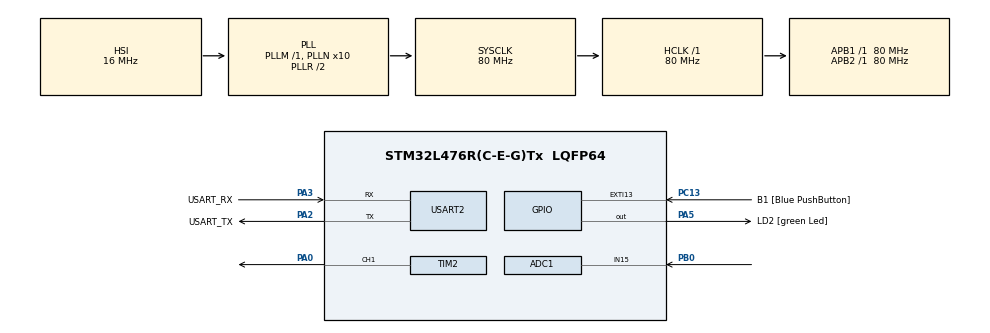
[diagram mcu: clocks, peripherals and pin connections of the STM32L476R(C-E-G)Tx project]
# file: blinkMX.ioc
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ADC1.Channel-3\#ChannelRegularConversion=ADC_CHANNEL_15
ADC1.ClockPrescaler=ADC_CLOCK_SYNC_PCLK_DIV4
ADC1.ContinuousConvMode=ENABLE
ADC1.NbrOfConversionFlag=1
ADC1.OffsetNumber-3\#ChannelRegularConversion=ADC_OFFSET_NONE
ADC1.Rank-3\#ChannelRegularConversion=1
ADC1.SamplingTime-3\#ChannelRegularConversion=ADC_SAMPLETIME_2CYCLES_5
ADC1.master=1
Mcu.Family=STM32L4
Mcu.Name=STM32L476R(C-E-G)Tx
Mcu.Package=LQFP64
NVIC.PriorityGroup=NVIC_PRIORITYGROUP_4
PA0.Signal=S_TIM2_CH1
PA13\ (JTMS-SWDIO).GPIO_Label=TMS
PA13\ (JTMS-SWDIO).Mode=Serial_Wire
PA13\ (JTMS-SWDIO).Signal=SYS_JTMS-SWDIO
PA14\ (JTCK-SWCLK).GPIO_Label=TCK
PA14\ (JTCK-SWCLK).Mode=Serial_Wire
PA14\ (JTCK-SWCLK).Signal=SYS_JTCK-SWCLK
PA2.GPIO_Label=USART_TX
PA2.GPIO_Mode=GPIO_MODE_AF_PP
PA2.GPIO_PuPd=GPIO_NOPULL
PA2.GPIO_Speed=GPIO_SPEED_FREQ_VERY_HIGH
PA2.Mode=Asynchronous
PA2.Signal=USART2_TX
PA3.GPIO_Label=USART_RX
PA3.GPIO_Mode=GPIO_MODE_AF_PP
PA3.GPIO_PuPd=GPIO_NOPULL
PA3.GPIO_Speed=GPIO_SPEED_FREQ_VERY_HIGH
PA3.Mode=Asynchronous
PA3.Signal=USART2_RX
PA5.GPIO_Label=LD2 [green Led]
PA5.GPIO_ModeDefaultOutputPP=GPIO_MODE_OUTPUT_PP
PA5.GPIO_PuPd=GPIO_NOPULL
PA5.GPIO_Speed=GPIO_SPEED_FREQ_LOW
PA5.Signal=GPIO_Output
PB0.Signal=ADCx_IN15
PB3\ (JTDO-TRACESWO).GPIO_Label=SWO
PB3\ (JTDO-TRACESWO).Signal=SYS_JTDO-SWO
PC13.GPIO_Label=B1 [Blue PushButton]
PC13.GPIO_ModeDefaultEXTI=GPIO_MODE_IT_FALLING
PC13.GPIO_PuPd=GPIO_NOPULL
PC13.Signal=GPXTI13
PC14-OSC32_IN\ (PC14).Mode=LSE-External-Oscillator
PC14-OSC32_IN\ (PC14).Signal=RCC_OSC32_IN
PC15-OSC32_OUT\ (PC15).Mode=LSE-External-Oscillator
PC15-OSC32_OUT\ (PC15).Signal=RCC_OSC32_OUT
PH0-OSC_IN\ (PH0).Signal=RCC_OSC_IN
PH1-OSC_OUT\ (PH1).Signal=RCC_OSC_OUT
ProjectManager.HeapSize=0x200
ProjectManager.StackSize=0x400
ProjectManager.TargetToolchain=STM32CubeIDE
RCC.ADCFreq_Value=64000000
RCC.AHBFreq_Value=80000000
RCC.APB1Freq_Value=80000000
RCC.APB1TimFreq_Value=80000000
RCC.APB2Freq_Value=80000000
RCC.APB2TimFreq_Value=80000000
RCC.CortexFreq_Value=80000000
RCC.HCLKFreq_Value=80000000
RCC.HSE_VALUE=8000000
RCC.HSI_VALUE=16000000
RCC.MSI_VALUE=4000000
RCC.PLLN=10
RCC.PLLSourceVirtual=RCC_PLLSOURCE_HSI
RCC.PREFETCH_ENABLE=1
RCC.SYSCLKFreq_VALUE=80000000
RCC.SYSCLKSource=RCC_SYSCLKSOURCE_PLLCLK
RCC.USBFreq_Value=64000000
RCC.VCOOutputFreq_Value=160000000
SH.ADCx_IN15.0=ADC1_IN15,IN15-Single-Ended
SH.S_TIM2_CH1.0=TIM2_CH1,PWM Generation1 CH1
TIM2.Channel-PWM\ Generation1\ CH1=TIM_CHANNEL_1
TIM2.Period=1999
TIM2.Pulse-PWM\ Generation1\ CH1=1000
USART2.VirtualMode-Asynchronous=VM_ASYNC
VP_TIM2_VS_ClockSourceINT.Mode=Internal
board=NUCLEO-L476RG

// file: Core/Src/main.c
/* USER CODE BEGIN Header */
/**
  ******************************************************************************
  * @file           : main.c
  * @brief          : Main program body
  ******************************************************************************
  * @attention
  *
  * Copyright (c) 2026 STMicroelectronics.
  * All rights reserved.
  *
  * This software is licensed under terms that can be found in the LICENSE file
  * in the root directory of this software component.
  * If no LICENSE file comes with this software, it is provided AS-IS.
  *
  ******************************************************************************
  */
/* USER CODE END Header */
#include "main.h"

/* USER CODE BEGIN Includes */
#include <string.h>
#include <stdio.h>
/* USER CODE END Includes */

/* USER CODE BEGIN Defines */
#define ADC_BUFFER_SIZE 1000    // Number of ADC samples to capture
#define BURST_PULSES    8       // Number of 40kHz pulses to send
#define BURST_PERIOD_US 25      // Period of one 40kHz cycle in microseconds
#define PRE_CAPTURE_DELAY_US 50 // Delay after burst before sampling (transducer ringdown)
#define SAMPLE_RATE_HZ   1335940u // Measured 2026-05-09 via PA1 GPIO-toggle probe
#define BLANKING_SAMPLES 67       // Skip first ~50 µs of capture (TX feedthrough + RX ringup)
#define ECHO_THRESHOLD   100      // ADC counts (~80 mV) for threshold-based "echo start"
#define ZC_HALF_COUNT    3        // ZCs taken on each side of peak; 6 total averaged
/* USER CODE END Defines */

ADC_HandleTypeDef hadc1;

TIM_HandleTypeDef htim2;

UART_HandleTypeDef huart2;

/* USER CODE BEGIN PV */
uint16_t adc_buffer[ADC_BUFFER_SIZE];  // Buffer for captured ADC samples
volatile uint32_t capture_complete = 0;
/* USER CODE END PV */

void SystemClock_Config(void);
static void MX_GPIO_Init(void);
static void MX_USART2_UART_Init(void);
static void MX_TIM2_Init(void);
static void MX_ADC1_Init(void);
/* USER CODE BEGIN PFP */
typedef struct {
    int   peak_idx;         // sample index of envelope peak (max |sample - mean|)
    int   peak_amplitude;   // max |sample - mean|, ADC counts
    int   echo_start_idx;   // first post-blanking sample exceeding ECHO_THRESHOLD; -1 if none
    float dc_mean;          // mean ADC value across the buffer
    int   zc_count;         // number of ZCs averaged (target 2*ZC_HALF_COUNT, fewer if buffer edge)
    float zc_avg_idx;       // averaged sub-sample crossing index; ToF = zc_avg_idx / SAMPLE_RATE_HZ
} echo_analysis_t;

void send_burst(uint8_t num_pulses);
void capture_echo(void);
void send_samples_uart(void);
void delay_us(uint32_t us);
echo_analysis_t analyze_echo(uint16_t *buf, int n);
/* USER CODE END PFP */

int main(void)
{

  /* MCU Configuration--------------------------------------------------------*/

  /* Reset of all peripherals, Initializes the Flash interface and the Systick. */
  HAL_Init();

  /* Configure the system clock */
  SystemClock_Config();

  /* Initialize all configured peripherals */
  MX_GPIO_Init();
  MX_USART2_UART_Init();
  MX_TIM2_Init();
  MX_ADC1_Init();
  /* USER CODE BEGIN 2 */
  // Enable DWT cycle counter for microsecond delays
  CoreDebug->DEMCR |= CoreDebug_DEMCR_TRCENA_Msk;
  DWT->CYCCNT = 0;
  DWT->CTRL |= DWT_CTRL_CYCCNTENA_Msk;

  // Calibrate ADC
  HAL_ADCEx_Calibration_Start(&hadc1, ADC_SINGLE_ENDED);

  // Send startup message
  char startup_msg[] = "\r\n=== Ultrasonic Burst Mode ===\r\n";
  HAL_UART_Transmit(&huart2, (uint8_t*)startup_msg, strlen(startup_msg), 100);
  char info_msg[100];
  sprintf(info_msg, "Burst: %d pulses @ 40kHz (%d us)\r\n", BURST_PULSES, BURST_PULSES * BURST_PERIOD_US);
  HAL_UART_Transmit(&huart2, (uint8_t*)info_msg, strlen(info_msg), 100);
  sprintf(info_msg, "Pre-capture delay: %d us\r\n", PRE_CAPTURE_DELAY_US);
  HAL_UART_Transmit(&huart2, (uint8_t*)info_msg, strlen(info_msg), 100);
  sprintf(info_msg, "Buffer: %d samples @ ~1.3 MHz (~%d us window)\r\n", ADC_BUFFER_SIZE, (int)(ADC_BUFFER_SIZE * 0.75));
  HAL_UART_Transmit(&huart2, (uint8_t*)info_msg, strlen(info_msg), 100);

  // Don't start continuous PWM - we'll send bursts instead
  /* USER CODE END 2 */

  /* Infinite loop */
  while (1)
  {

    /* USER CODE BEGIN 3 */

    // Toggle LED to show activity
    HAL_GPIO_TogglePin(LD2_GPIO_Port, LD2_Pin);

    // Send burst of ultrasonic pulses
    send_burst(BURST_PULSES);

    // Brief delay for transducer ringdown before capturing
    delay_us(PRE_CAPTURE_DELAY_US);

    // Capture echo response
    capture_echo();

    // Analyze echo in firmware (Layer 1 + Layer 2): emit summary line BEFORE
    // the raw samples. Times use integer math in tenths-of-µs (Layer 1) and
    // nanoseconds (Layer 2 ZC) to avoid enabling float printf in newlib-nano.
    echo_analysis_t echo = analyze_echo(adc_buffer, ADC_BUFFER_SIZE);
    unsigned int peak_tus = (unsigned int)(
        (uint64_t)echo.peak_idx * 10000000ULL / SAMPLE_RATE_HZ);
    unsigned int dc_x10 = (unsigned int)(echo.dc_mean * 10.0f + 0.5f);
    unsigned int zc_tof_ns = (unsigned int)(
        echo.zc_avg_idx * 1.0e9f / (float)SAMPLE_RATE_HZ + 0.5f);
    char echo_msg[200];
    if (echo.echo_start_idx >= 0) {
        unsigned int start_tus = (unsigned int)(
            (uint64_t)echo.echo_start_idx * 10000000ULL / SAMPLE_RATE_HZ);
        sprintf(echo_msg,
            "ECHO: start=%d (%u.%u us) peak=%d (%u.%u us) zc[%d]=%u.%03u us amp=%d mean=%u.%u\r\n",
            echo.echo_start_idx, start_tus / 10, start_tus % 10,
            echo.peak_idx,        peak_tus  / 10, peak_tus  % 10,
            echo.zc_count,        zc_tof_ns / 1000, zc_tof_ns % 1000,
            echo.peak_amplitude,
            dc_x10 / 10, dc_x10 % 10);
    } else {
        sprintf(echo_msg,
            "ECHO: no_threshold_cross peak=%d (%u.%u us) zc[%d]=%u.%03u us amp=%d mean=%u.%u\r\n",
            echo.peak_idx, peak_tus / 10, peak_tus % 10,
            echo.zc_count, zc_tof_ns / 1000, zc_tof_ns % 1000,
            echo.peak_amplitude,
            dc_x10 / 10, dc_x10 % 10);
    }
    HAL_UART_Transmit(&huart2, (uint8_t*)echo_msg, strlen(echo_msg), 100);

    // Send captured data over UART
    send_samples_uart();

    // Wait before next capture (allows serial transmission to complete)
    HAL_Delay(1000);

  }
  /* USER CODE END 3 */
}

void SystemClock_Config(void)
{
  RCC_OscInitTypeDef RCC_OscInitStruct = {0};
  RCC_ClkInitTypeDef RCC_ClkInitStruct = {0};

  /** Configure the main internal regulator output voltage
  */
  if (HAL_PWREx_ControlVoltageScaling(PWR_REGULATOR_VOLTAGE_SCALE1) != HAL_OK)
  {
    Error_Handler();
  }

  /** Initializes the RCC Oscillators according to the specified parameters
  * in the RCC_OscInitTypeDef structure.
  */
  RCC_OscInitStruct.OscillatorType = RCC_OSCILLATORTYPE_HSI;
  RCC_OscInitStruct.HSIState = RCC_HSI_ON;
  RCC_OscInitStruct.HSICalibrationValue = RCC_HSICALIBRATION_DEFAULT;
  RCC_OscInitStruct.PLL.PLLState = RCC_PLL_ON;
  RCC_OscInitStruct.PLL.PLLSource = RCC_PLLSOURCE_HSI;
  RCC_OscInitStruct.PLL.PLLM = 1;
  RCC_OscInitStruct.PLL.PLLN = 10;
  RCC_OscInitStruct.PLL.PLLP = RCC_PLLP_DIV7;
  RCC_OscInitStruct.PLL.PLLQ = RCC_PLLQ_DIV2;
  RCC_OscInitStruct.PLL.PLLR = RCC_PLLR_DIV2;
  if (HAL_RCC_OscConfig(&RCC_OscInitStruct) != HAL_OK)
  {
    Error_Handler();
  }

  /** Initializes the CPU, AHB and APB buses clocks
  */
  RCC_ClkInitStruct.ClockType = RCC_CLOCKTYPE_HCLK|RCC_CLOCKTYPE_SYSCLK
                              |RCC_CLOCKTYPE_PCLK1|RCC_CLOCKTYPE_PCLK2;
  RCC_ClkInitStruct.SYSCLKSource = RCC_SYSCLKSOURCE_PLLCLK;
  RCC_ClkInitStruct.AHBCLKDivider = RCC_SYSCLK_DIV1;
  RCC_ClkInitStruct.APB1CLKDivider = RCC_HCLK_DIV1;
  RCC_ClkInitStruct.APB2CLKDivider = RCC_HCLK_DIV1;

  if (HAL_RCC_ClockConfig(&RCC_ClkInitStruct, FLASH_LATENCY_4) != HAL_OK)
  {
    Error_Handler();
  }
}

static void MX_ADC1_Init(void)
{

  ADC_MultiModeTypeDef multimode = {0};
  ADC_ChannelConfTypeDef sConfig = {0};

  /** Common config
  */
  hadc1.Instance = ADC1;
  hadc1.Init.ClockPrescaler = ADC_CLOCK_SYNC_PCLK_DIV4;
  hadc1.Init.Resolution = ADC_RESOLUTION_12B;
  hadc1.Init.DataAlign = ADC_DATAALIGN_RIGHT;
  hadc1.Init.ScanConvMode = ADC_SCAN_DISABLE;
  hadc1.Init.EOCSelection = ADC_EOC_SINGLE_CONV;
  hadc1.Init.LowPowerAutoWait = DISABLE;
  hadc1.Init.ContinuousConvMode = ENABLE;
  hadc1.Init.NbrOfConversion = 1;
  hadc1.Init.DiscontinuousConvMode = DISABLE;
  hadc1.Init.ExternalTrigConv = ADC_SOFTWARE_START;
  hadc1.Init.ExternalTrigConvEdge = ADC_EXTERNALTRIGCONVEDGE_NONE;
  hadc1.Init.DMAContinuousRequests = DISABLE;
  hadc1.Init.Overrun = ADC_OVR_DATA_PRESERVED;
  hadc1.Init.OversamplingMode = DISABLE;
  if (HAL_ADC_Init(&hadc1) != HAL_OK)
  {
    Error_Handler();
  }

  /** Configure the ADC multi-mode
  */
  multimode.Mode = ADC_MODE_INDEPENDENT;
  if (HAL_ADCEx_MultiModeConfigChannel(&hadc1, &multimode) != HAL_OK)
  {
    Error_Handler();
  }

  /** Configure Regular Channel
  */
  sConfig.Channel = ADC_CHANNEL_15;
  sConfig.Rank = ADC_REGULAR_RANK_1;
  sConfig.SamplingTime = ADC_SAMPLETIME_2CYCLES_5;
  sConfig.SingleDiff = ADC_SINGLE_ENDED;
  sConfig.OffsetNumber = ADC_OFFSET_NONE;
  sConfig.Offset = 0;
  if (HAL_ADC_ConfigChannel(&hadc1, &sConfig) != HAL_OK)
  {
    Error_Handler();
  }

}

static void MX_TIM2_Init(void)
{

  TIM_ClockConfigTypeDef sClockSourceConfig = {0};
  TIM_MasterConfigTypeDef sMasterConfig = {0};
  TIM_OC_InitTypeDef sConfigOC = {0};

  htim2.Instance = TIM2;
  htim2.Init.Prescaler = 0;
  htim2.Init.CounterMode = TIM_COUNTERMODE_UP;
  htim2.Init.Period = 1999;
  htim2.Init.ClockDivision = TIM_CLOCKDIVISION_DIV1;
  htim2.Init.AutoReloadPreload = TIM_AUTORELOAD_PRELOAD_DISABLE;
  if (HAL_TIM_Base_Init(&htim2) != HAL_OK)
  {
    Error_Handler();
  }
  sClockSourceConfig.ClockSource = TIM_CLOCKSOURCE_INTERNAL;
  if (HAL_TIM_ConfigClockSource(&htim2, &sClockSourceConfig) != HAL_OK)
  {
    Error_Handler();
  }
  if (HAL_TIM_PWM_Init(&htim2) != HAL_OK)
  {
    Error_Handler();
  }
  sMasterConfig.MasterOutputTrigger = TIM_TRGO_RESET;
  sMasterConfig.MasterSlaveMode = TIM_MASTERSLAVEMODE_DISABLE;
  if (HAL_TIMEx_MasterConfigSynchronization(&htim2, &sMasterConfig) != HAL_OK)
  {
    Error_Handler();
  }
  sConfigOC.OCMode = TIM_OCMODE_PWM1;
  sConfigOC.Pulse = 1000;
  sConfigOC.OCPolarity = TIM_OCPOLARITY_HIGH;
  sConfigOC.OCFastMode = TIM_OCFAST_DISABLE;
  if (HAL_TIM_PWM_ConfigChannel(&htim2, &sConfigOC, TIM_CHANNEL_1) != HAL_OK)
  {
    Error_Handler();
  }
  HAL_TIM_MspPostInit(&htim2);

}

static void MX_USART2_UART_Init(void)
{

  huart2.Instance = USART2;
  huart2.Init.BaudRate = 115200;
  huart2.Init.WordLength = UART_WORDLENGTH_8B;
  huart2.Init.StopBits = UART_STOPBITS_1;
  huart2.Init.Parity = UART_PARITY_NONE;
  huart2.Init.Mode = UART_MODE_TX_RX;
  huart2.Init.HwFlowCtl = UART_HWCONTROL_NONE;
  huart2.Init.OverSampling = UART_OVERSAMPLING_16;
  huart2.Init.OneBitSampling = UART_ONE_BIT_SAMPLE_DISABLE;
  huart2.AdvancedInit.AdvFeatureInit = UART_ADVFEATURE_NO_INIT;
  if (HAL_UART_Init(&huart2) != HAL_OK)
  {
    Error_Handler();
  }

}

static void MX_GPIO_Init(void)
{
  GPIO_InitTypeDef GPIO_InitStruct = {0};

  /* GPIO Ports Clock Enable */
  __HAL_RCC_GPIOC_CLK_ENABLE();
  __HAL_RCC_GPIOH_CLK_ENABLE();
  __HAL_RCC_GPIOA_CLK_ENABLE();
  __HAL_RCC_GPIOB_CLK_ENABLE();

  /*Configure GPIO pin Output Level */
  HAL_GPIO_WritePin(LD2_GPIO_Port, LD2_Pin, GPIO_PIN_RESET);

  /*Configure GPIO pin : B1_Pin */
  GPIO_InitStruct.Pin = B1_Pin;
  GPIO_InitStruct.Mode = GPIO_MODE_IT_FALLING;
  GPIO_InitStruct.Pull = GPIO_NOPULL;
  HAL_GPIO_Init(B1_GPIO_Port, &GPIO_InitStruct);

  /*Configure GPIO pin : LD2_Pin */
  GPIO_InitStruct.Pin = LD2_Pin;
  GPIO_InitStruct.Mode = GPIO_MODE_OUTPUT_PP;
  GPIO_InitStruct.Pull = GPIO_NOPULL;
  GPIO_InitStruct.Speed = GPIO_SPEED_FREQ_LOW;
  HAL_GPIO_Init(LD2_GPIO_Port, &GPIO_InitStruct);

  /* USER CODE BEGIN MX_GPIO_Init_2 */
  // Sample-rate calibration probe on PA1 (= Nucleo CN8 / A1).
  // capture_echo() toggles this pin once per ADC sample. Scope it,
  // read frequency f, then real sample rate = 2 * f.
  {
    GPIO_InitTypeDef sr_probe = {0};
    sr_probe.Pin   = GPIO_PIN_1;
    sr_probe.Mode  = GPIO_MODE_OUTPUT_PP;
    sr_probe.Pull  = GPIO_NOPULL;
    sr_probe.Speed = GPIO_SPEED_FREQ_VERY_HIGH;
    HAL_GPIO_Init(GPIOA, &sr_probe);
  }
  /* USER CODE END MX_GPIO_Init_2 */
}

/* USER CODE BEGIN 4 */

/**
 * @brief Microsecond delay using DWT cycle counter
 * @param us: microseconds to delay
 */
void delay_us(uint32_t us) {
    // At 80MHz, 1us = 80 cycles
    uint32_t start = DWT->CYCCNT;
    uint32_t cycles = us * 80;
    while ((DWT->CYCCNT - start) < cycles);
}

/**
 * @brief Send a burst of N pulses at 40kHz
 * @param num_pulses: number of pulses to send
 */
void send_burst(uint8_t num_pulses) {
    // Start PWM
    HAL_TIM_PWM_Start(&htim2, TIM_CHANNEL_1);

    // Wait for N complete periods (25us each at 40kHz)
    delay_us(num_pulses * BURST_PERIOD_US);

    // Stop PWM and force output low
    HAL_TIM_PWM_Stop(&htim2, TIM_CHANNEL_1);
}

/**
 * @brief Capture ADC samples as fast as possible into buffer
 * Uses direct register access for maximum speed (~1MHz sampling)
 * ADC is configured for continuous conversion mode
 */
void capture_echo(void) {
    // Start continuous conversion
    HAL_ADC_Start(&hadc1);

    // Fast sampling loop using direct register access
    // Wait for first conversion, then read as fast as possible
    // At 80MHz/4 ADC clock with 15 cycle conversion = ~1.33MHz max rate
    for (int i = 0; i < ADC_BUFFER_SIZE; i++) {
        // Wait for end of conversion (EOC flag)
        while (!(ADC1->ISR & ADC_ISR_EOC));
        // Read data register (also clears EOC flag)
        adc_buffer[i] = ADC1->DR;
        // Sample-rate probe: toggle PA1 (Nucleo A1) once per sample.
        // Direct ODR XOR — ~2 CPU cycles, negligible loop perturbation.
        GPIOA->ODR ^= GPIO_PIN_1;
    }

    // Stop ADC
    HAL_ADC_Stop(&hadc1);
}

/**
 * @brief Send all captured samples over UART in CSV format
 * Format: "index,value\r\n" for each sample
 * Starts with header, ends with END marker
 */
void send_samples_uart(void) {
    char buf[32];

    // Send header
    sprintf(buf, "--- BEGIN CAPTURE ---\r\n");
    HAL_UART_Transmit(&huart2, (uint8_t*)buf, strlen(buf), 100);

    // Send samples
    for (int i = 0; i < ADC_BUFFER_SIZE; i++) {
        sprintf(buf, "%d,%u\r\n", i, adc_buffer[i]);
        HAL_UART_Transmit(&huart2, (uint8_t*)buf, strlen(buf), 100);
    }

    // Send footer
    sprintf(buf, "--- END CAPTURE ---\r\n");
    HAL_UART_Transmit(&huart2, (uint8_t*)buf, strlen(buf), 100);
}

/**
 * @brief One-pass echo analysis: DC mean, threshold-based echo start,
 *        envelope peak, and zero-crossing interpolated sub-sample ToF.
 *
 * Layer 1 (peak detection): scan post-blanking window for first threshold
 * cross and absolute maximum deviation from DC.
 *
 * Layer 2 (ZC interpolation): walk outward from peak, find up to
 * ZC_HALF_COUNT zero crossings on each side, linearly interpolate each
 * between bracketing samples, average. Frac formula: -y0 / (y1 - y0).
 * Skips first BLANKING_SAMPLES to ignore TX feedthrough + RX ringup.
 */
echo_analysis_t analyze_echo(uint16_t *buf, int n) {
    echo_analysis_t r = { 0 };
    r.echo_start_idx = -1;

    // ---- DC mean over whole buffer (echo is ~symmetric, low bias) ----
    uint32_t sum = 0;
    for (int i = 0; i < n; i++) sum += buf[i];
    r.dc_mean = (float)sum / (float)n;
    int dc_int = (int)(r.dc_mean + 0.5f);

    // ---- Layer 1: threshold cross + envelope peak ----
    int max_dev = 0;
    int max_idx = BLANKING_SAMPLES;
    for (int i = BLANKING_SAMPLES; i < n; i++) {
        int dev = (int)buf[i] - dc_int;
        int abs_dev = dev < 0 ? -dev : dev;
        if (r.echo_start_idx < 0 && abs_dev > ECHO_THRESHOLD) {
            r.echo_start_idx = i;
        }
        if (abs_dev > max_dev) {
            max_dev = abs_dev;
            max_idx = i;
        }
    }
    r.peak_idx = max_idx;
    r.peak_amplitude = max_dev;

    // ---- Layer 2: zero-crossing interpolation around the peak ----
    // Walk LEFT from peak: collect up to ZC_HALF_COUNT crossings.
    float zc_sum = 0.0f;
    int   zc_count = 0;
    int   side_found = 0;
    for (int i = max_idx; i > 0 && side_found < ZC_HALF_COUNT; i--) {
        int y0 = (int)buf[i - 1] - dc_int;
        int y1 = (int)buf[i]     - dc_int;
        if ((y0 < 0 && y1 >= 0) || (y0 >= 0 && y1 < 0)) {
            int dy = y1 - y0;
            if (dy != 0) {
                float frac = (float)(-y0) / (float)dy;
                zc_sum += (float)(i - 1) + frac;
                zc_count++;
                side_found++;
            }
        }
    }
    // Walk RIGHT from peak: collect up to ZC_HALF_COUNT more.
    side_found = 0;
    for (int i = max_idx; i < n - 1 && side_found < ZC_HALF_COUNT; i++) {
        int y0 = (int)buf[i]     - dc_int;
        int y1 = (int)buf[i + 1] - dc_int;
        if ((y0 < 0 && y1 >= 0) || (y0 >= 0 && y1 < 0)) {
            int dy = y1 - y0;
            if (dy != 0) {
                float frac = (float)(-y0) / (float)dy;
                zc_sum += (float)i + frac;
                zc_count++;
                side_found++;
            }
        }
    }
    r.zc_count   = zc_count;
    r.zc_avg_idx = (zc_count > 0) ? (zc_sum / (float)zc_count) : 0.0f;

    return r;
}

/* USER CODE END 4 */

void Error_Handler(void)
{
  __disable_irq();
  while (1)
  {
  }
}
